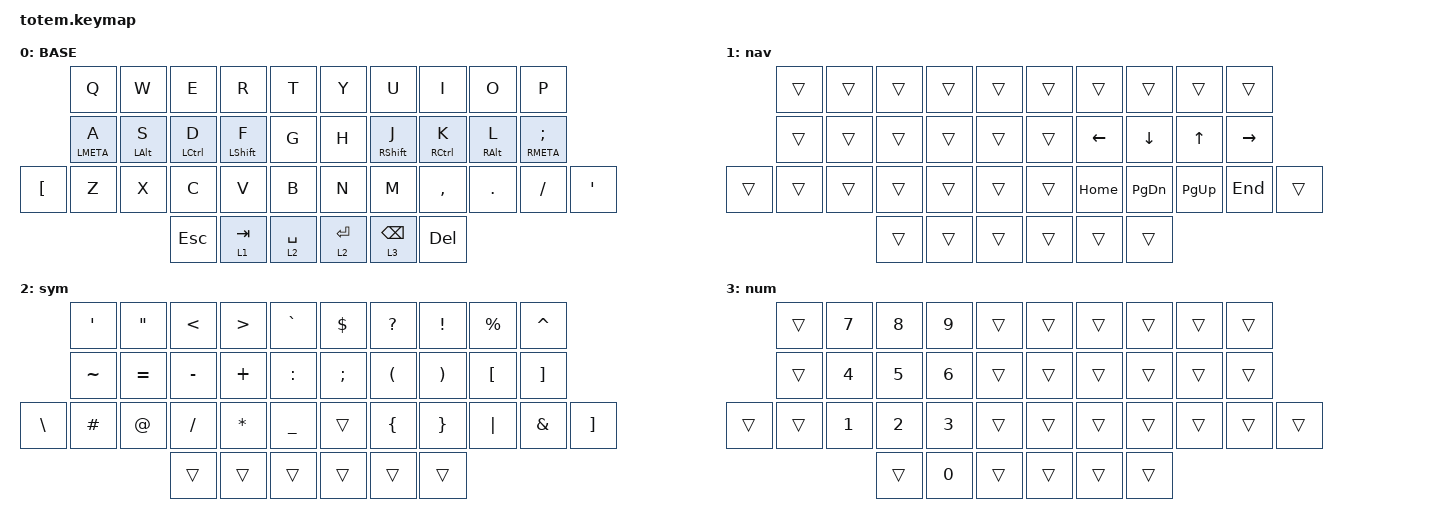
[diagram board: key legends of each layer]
//
//                                                        ▀▀▀▀▀     ▀▀▀▀▀          ▀▀█▀▀
//                                                        ▄▀▀▀▄  ▄  ▄▀▀▀▄  ▄  ▄▀▀▀▄  █  ▄▀▀▀▄
//                                                        █   █  █  █   █  █  █   █  █  █   █
//                                                         ▀▀▀   █   ▀▀▀   █   ▀▀▀   ▀   ▀▀▀
//                                                               █      ▄▄▄█▄▄▄    █   █  
//                                                               ▀      █  █  █     █▄█
//                                                             ▀▀▀▀▀    █  █  █      ▀
//                                                                      ▀  ▀  ▀
//
// ▄▄▄▄▄▄▄▄▄▄▄▄▄▄▄▄▄▄▄▄▄▄▄▄▄▄▄▄▄▄▄▄▄▄▄▄▄▄▄▄▄▄▄▄▄▄▄▄▄▄▄▄▄▄▄▄▄▄▄▄▄▄▄▄▄▄▄▄▄▄▄▄▄▄▄▄▄▄▄▄▄▄▄▄▄▄▄▄▄▄▄▄▄▄▄▄▄▄▄▄▄▄▄▄▄▄▄▄▄▄▄▄▄▄▄▄▄▄▄▄▄▄▄▄▄▄▄▄▄▄▄▄▄▄▄▄▄▄▄▄▄▄▄▄▄▄▄▄▄

#include <behaviors.dtsi>
#include <dt-bindings/zmk/keys.h>

#define BASE 0
#define NAV  1
#define SYM  2
#define ADJ  3
#define TVP1 4
#define TVP2 5

&mt {
    quick-tap-ms = <100>;
    global-quick-tap;
    flavor = "tap-preferred";
    tapping-term-ms = <170>;
};

/ {
    combos {
        compatible = "zmk,combos";

        combo_esc {
            timeout-ms = <50>;
            key-positions = <0 1>;
            bindings = <&kp ESC>;
        };

        combo_tvp {
            timeout-ms = <100>;
            key-positions = <11 12 13>;
            bindings = <&tog 0>;
        };
    };

    macros {
        gif: gif {
            label = "giphy";
            compatible = "zmk,behavior-macro";
            #binding-cells = <0>;
            bindings =
                <&macro_press>,
                <&kp LSHFT>,
                <&macro_tap>,
                <&kp N2>,
                <&macro_release>,
                <&kp LSHFT>,
                <&macro_tap>,
                <&kp G &kp I &kp F>;
        };
    };

    behaviors {
        hrm: hrm {
            compatible = "zmk,behavior-hold-tap";
            label = "HRM";
            bindings = <&kp>, <&kp>;

            #binding-cells = <2>;
            tapping-term-ms = <200>;
            quick-tap-ms = <200>;
            require-prior-idle-ms = <200>;
            flavor = "balanced";
        };
    };

    keymap {
        compatible = "zmk,keymap";

        // ▄▄▄▄▄▄▄▄▄▄▄▄▄▄▄▄▄▄▄▄▄▄▄▄▄▄▄▄▄▄▄▄▄▄▄▄▄▄▄▄▄▄▄▄▄▄▄▄▄▄▄▄▄▄▄▄▄▄▄▄▄▄▄▄▄▄▄▄▄▄▄▄▄▄▄▄▄▄▄▄▄▄▄▄▄▄▄▄▄▄▄▄▄▄▄▄▄▄▄▄▄▄▄▄▄▄▄▄▄▄▄▄▄▄▄▄▄▄▄▄▄▄▄▄▄▄▄▄▄▄▄▄▄▄▄▄▄▄▄▄▄▄▄▄▄▄▄▄▄

        base {
            // ┏━━━━━━━━━━━━━━━━━━━━━━━━━━━━━━━━━━━━━━━┓

            label = "BASE";

            // ┗━━━━━━━━━━━━━━━━━━━━━━━━━━━━━━━━━━━━━━━┛
            //             ┏━━━━━━━━━━━┳━━━━━━━━━━━┳━━━━━━━━━━━┳━━━━━━━━━━━┳━━━━━━━━━━━┓   ┏━━━━━━━━━━━┳━━━━━━━━━━━┳━━━━━━━━━━━┳━━━━━━━━━━━┳━━━━━━━━━━━┓
            //             ┃     Q     ┃     W     ┃     F     ┃     P     ┃     G     ┃   ┃     J     ┃     L     ┃     U     ┃     Y     ┃     ;     ┃
            //             ┣━━━━━━━━━━━╋━━━━━━━━━━━╋━━━━━━━━━━━╋━━━━━━━━━━━╋━━━━━━━━━━━┫   ┣━━━━━━━━━━━╋━━━━━━━━━━━╋━━━━━━━━━━━╋━━━━━━━━━━━╋━━━━━━━━━━━┫
            //             ┃     A     ┃     R     ┃     S     ┃     T     ┃     D     ┃   ┃     H     ┃     N     ┃     E     ┃     I     ┃     O     ┃
            // ┏━━━━━━━━━━━╋━━━━━━━━━━━╋━━━━━━━━━━━╋━━━━━━━━━━━╋━━━━━━━━━━━╋━━━━━━━━━━━┫   ┣━━━━━━━━━━━╋━━━━━━━━━━━╋━━━━━━━━━━━╋━━━━━━━━━━━╋━━━━━━━━━━━╋━━━━━━━━━━━┓
            // ┃     Q     ┃     Z     ┃     X     ┃     C     ┃     V     ┃     B     ┃   ┃     K     ┃     M     ┃     ,     ┃     .     ┃     /     ┃     \     ┃
            // ┗━━━━━━━━━━━┻━━━━━━━━━━━┻━━━━━━━━━━━╋━━━━━━━━━━━╋━━━━━━━━━━━╋━━━━━━━━━━━┫   ┣━━━━━━━━━━━╋━━━━━━━━━━━╋━━━━━━━━━━━╋━━━━━━━━━━━┻━━━━━━━━━━━┻━━━━━━━━━━━┛
            //                                     ┃    DEL    ┃    TAB    ┃    SPC    ┃   ┃   ENTER   ┃           ┃   BSPC    ┃
            //                                     ┗━━━━━━━━━━━┻━━━━━━━━━━━┻━━━━━━━━━━━┛   ┗━━━━━━━━━━━┻━━━━━━━━━━━┻━━━━━━━━━━━┛

            bindings = <
                  &kp Q         &kp W        &kp E         &kp R          &kp T          &kp Y      &kp U         &kp I         &kp O        &kp P
                  &hrm LMETA A  &hrm LALT S  &hrm LCTRL D  &hrm LSHIFT F  &kp G          &kp H      &hrm RSHFT J  &hrm RCTRL K  &hrm RALT L  &hrm RMETA SEMI
&kp LEFT_BRACKET  &kp Z         &kp X        &kp C         &kp V          &kp B          &kp N      &kp M         &kp COMMA     &kp DOT      &kp FSLH         &kp SINGLE_QUOTE
                                             &kp ESC       &lt 1 TAB      &lt 2 SPACE    &lt 2 RET  &lt 3 BSPC    &kp DEL
            >;
        };

        // ▄▄▄▄▄▄▄▄▄▄▄▄▄▄▄▄▄▄▄▄▄▄▄▄▄▄▄▄▄▄▄▄▄▄▄▄▄▄▄▄▄▄▄▄▄▄▄▄▄▄▄▄▄▄▄▄▄▄▄▄▄▄▄▄▄▄▄▄▄▄▄▄▄▄▄▄▄▄▄▄▄▄▄▄▄▄▄▄▄▄▄▄▄▄▄▄▄▄▄▄▄▄▄▄▄▄▄▄▄▄▄▄▄▄▄▄▄▄▄▄▄▄▄▄▄▄▄▄▄▄▄▄▄▄▄▄▄▄▄▄▄▄▄▄▄▄▄▄▄
        // ▄▄▄▄▄▄▄▄▄▄▄▄▄▄▄▄▄▄▄▄▄▄▄▄▄▄▄▄▄▄▄▄▄▄▄▄▄▄▄▄▄▄▄▄▄▄▄▄▄▄▄▄▄▄▄▄▄▄▄▄▄▄▄▄▄▄▄▄▄▄▄▄▄▄▄▄▄▄▄▄▄▄▄▄▄▄▄▄▄▄▄▄▄▄▄▄▄▄▄▄▄▄▄▄▄▄▄▄▄▄▄▄▄▄▄▄▄▄▄▄▄▄▄▄▄▄▄▄▄▄▄▄▄▄▄▄▄▄▄▄▄▄▄▄▄▄▄▄▄
        // ▄▄▄▄▄▄▄▄▄▄▄▄▄▄▄▄▄▄▄▄▄▄▄▄▄▄▄▄▄▄▄▄▄▄▄▄▄▄▄▄▄▄▄▄▄▄▄▄▄▄▄▄▄▄▄▄▄▄▄▄▄▄▄▄▄▄▄▄▄▄▄▄▄▄▄▄▄▄▄▄▄▄▄▄▄▄▄▄▄▄▄▄▄▄▄▄▄▄▄▄▄▄▄▄▄▄▄▄▄▄▄▄▄▄▄▄▄▄▄▄▄▄▄▄▄▄▄▄▄▄▄▄▄▄▄▄▄▄▄▄▄▄▄▄▄▄▄▄▄
        // ▄▄▄▄▄▄▄▄▄▄▄▄▄▄▄▄▄▄▄▄▄▄▄▄▄▄▄▄▄▄▄▄▄▄▄▄▄▄▄▄▄▄▄▄▄▄▄▄▄▄▄▄▄▄▄▄▄▄▄▄▄▄▄▄▄▄▄▄▄▄▄▄▄▄▄▄▄▄▄▄▄▄▄▄▄▄▄▄▄▄▄▄▄▄▄▄▄▄▄▄▄▄▄▄▄▄▄▄▄▄▄▄▄▄▄▄▄▄▄▄▄▄▄▄▄▄▄▄▄▄▄▄▄▄▄▄▄▄▄▄▄▄▄▄▄▄▄▄▄
        // ▄▄▄▄▄▄▄▄▄▄▄▄▄▄▄▄▄▄▄▄▄▄▄▄▄▄▄▄▄▄▄▄▄▄▄▄▄▄▄▄▄▄▄▄▄▄▄▄▄▄▄▄▄▄▄▄▄▄▄▄▄▄▄▄▄▄▄▄▄▄▄▄▄▄▄▄▄▄▄▄▄▄▄▄▄▄▄▄▄▄▄▄▄▄▄▄▄▄▄▄▄▄▄▄▄▄▄▄▄▄▄▄▄▄▄▄▄▄▄▄▄▄▄▄▄▄▄▄▄▄▄▄▄▄▄▄▄▄▄▄▄▄▄▄▄▄▄▄▄

        nav {
            bindings = <
        &trans  &trans  &trans  &trans  &trans    &trans  &trans    &trans     &trans     &trans
        &trans  &trans  &trans  &trans  &trans    &trans  &kp LEFT  &kp DOWN   &kp UP     &kp RIGHT
&trans  &trans  &trans  &trans  &trans  &trans    &trans  &kp HOME  &kp PG_DN  &kp PG_UP  &kp END    &trans
                        &trans  &trans  &trans    &trans  &trans    &trans
            >;
        };

        sym {
            bindings = <
               &kp APOS   &kp DOUBLE_QUOTES  &kp LESS_THAN  &kp GREATER_THAN  &kp GRAVE    &kp DOLLAR     &kp QUESTION          &kp EXCL               &kp PERCENT       &kp CARET
               &kp TILDE  &kp EQUAL          &kp MINUS      &kp PLUS          &kp COLON    &kp SEMICOLON  &kp LEFT_PARENTHESIS  &kp RIGHT_PARENTHESIS  &kp LEFT_BRACKET  &kp RIGHT_BRACKET
&kp BACKSLASH  &kp HASH   &kp AT             &kp SLASH      &kp ASTRK         &kp UNDER    &trans         &kp LEFT_BRACE        &kp RIGHT_BRACE        &kp PIPE          &kp AMPERSAND      &kp RIGHT_BRACKET
                                             &trans         &trans            &trans       &trans         &trans                &trans
            >;
        };

        num {
            bindings = <
        &trans  &kp N7  &kp N8  &kp N9  &trans    &trans  &trans  &trans  &trans  &trans
        &trans  &kp N4  &kp N5  &kp N6  &trans    &trans  &trans  &trans  &trans  &trans
&trans  &trans  &kp N1  &kp N2  &kp N3  &trans    &trans  &trans  &trans  &trans  &trans  &trans
                        &trans  &kp N0  &trans    &trans  &trans  &trans
            >;
        };
    };
};
